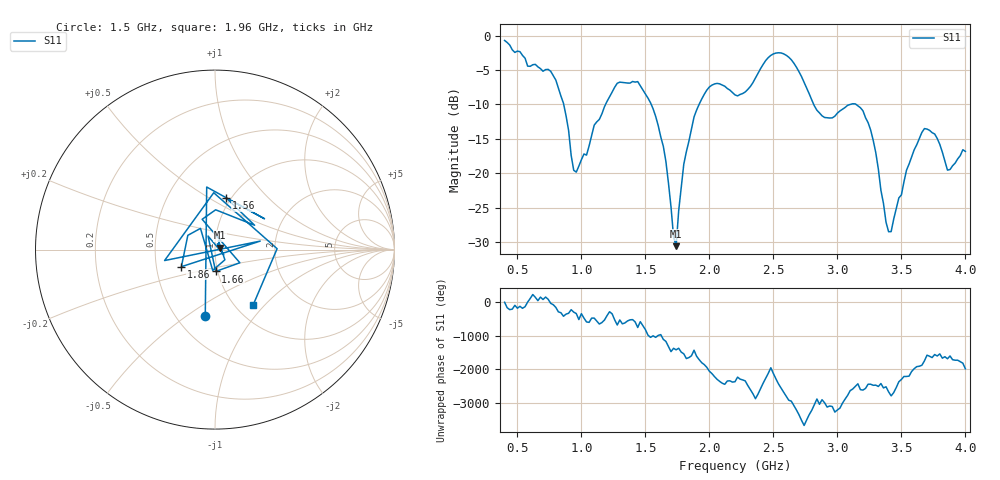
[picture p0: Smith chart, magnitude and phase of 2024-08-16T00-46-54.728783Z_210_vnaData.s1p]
!Created with skrf (http://scikit-rf.org).
# Hz S RI R 50.0
!freq ReS11 ImS11
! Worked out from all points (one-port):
!   181 points, 400 MHz to 4 GHz, reference 50 ohm
!   lowest |S11| = -30.6 dB at 1.74 GHz (marker M1), VSWR 1.06, Z = 52.8 + j1.21 ohm
!   |S11| at or under -10 dB: 861.7 MHz to 1.189 GHz (327.2 MHz wide, 31.9 % of centre); 1.545 GHz to 1.92 GHz (374.2 MHz wide, 21.6 % of centre); 3.145 GHz to end of sweep (the widest 3 of 4)
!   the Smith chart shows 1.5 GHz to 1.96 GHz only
!   S11 on the Smith chart (normalised r, x): 1.5 GHz: 0.69, -0.60; 1.56 GHz: 0.95, +0.60; 1.66 GHz: 0.98, -0.24; 1.86 GHz: 0.67, -0.13; 1.96 GHz: 1.20, -0.86
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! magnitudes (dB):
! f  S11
! 400 MHz  -0.7
! 760 MHz  -5.2
! 860 MHz  -9.8
! 940 MHz  -19.6
! 960 MHz  -19.8
! 1.3 GHz  -6.8
! 1.5 GHz  -8.5
! 1.56 GHz  -10.6
! 1.66 GHz  -18.3
! 1.72 GHz  -29.2
! 1.74 GHz  -30.6
! 1.76 GHz  -25.5
! 1.8 GHz  -18.7
! 1.86 GHz  -13.6
! 1.96 GHz  -8.5
! 2.06 GHz  -6.9
! 2.2 GHz  -8.6
! 2.5 GHz  -2.7
! 2.66 GHz  -4.0
! 2.88 GHz  -11.7
! 3.1 GHz  -10.0
! 3.26 GHz  -13.7
! 3.4 GHz  -28.5
! 3.56 GHz  -18.7
! 3.68 GHz  -13.5
! 3.78 GHz  -15.0
! 3.86 GHz  -19.6
! 4 GHz  -16.8
